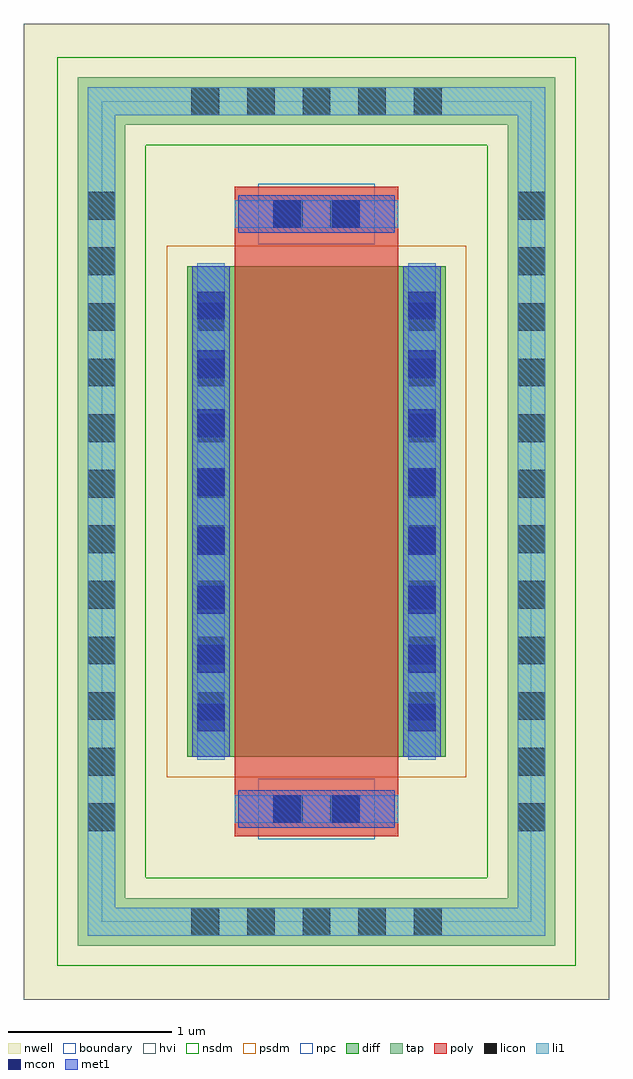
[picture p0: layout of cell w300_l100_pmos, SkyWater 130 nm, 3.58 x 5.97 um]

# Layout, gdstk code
import gdstk
lib = gdstk.Library(unit=1e-6, precision=1e-09)
def R(c, l, rs):  # rectangles x0, y0, x1, y1
    for r in rs: c.add(gdstk.rectangle(r[:2], r[2:], *l))
def A(c, l, x, y, w, h, nx, ny, dx, dy):  # array of equal rectangles
    R(c, l, [(x+i*dx, y+j*dy, x+i*dx+w, y+j*dy+h) for i in range(nx) for j in range(ny)])
nwell = (64, 20)
diff = (65, 20)
tap = (65, 44)
poly = (66, 20)
licon = (66, 44)
li1 = (67, 20)
mcon = (67, 44)
met1 = (68, 20)
hvi = (75, 20)
nsdm = (93, 44)
psdm = (94, 20)
npc = (95, 20)
boundary = (235, 4)

sky130_fd_pr__pfet_g5v0d = lib.new_cell('sky130_fd_pr__pfet_g5v0d10v5')

w300_l100_pmos = lib.new_cell('w300_l100_pmos')
R(w300_l100_pmos, nwell, [(-1.79,-2.985,1.79,2.985)])
R(w300_l100_pmos, diff, [(-0.79,-1.5,0.79,1.5)])
R(w300_l100_pmos, tap, [(-1.46,-2.655,1.46,-2.365), (-1.46,-2.365,-1.17,2.365), (1.17,-2.365,1.46,2.365), (-1.46,2.365,1.46,2.655)])
R(w300_l100_pmos, poly, [(-0.5,-1.985,0.5,1.985)])
A(w300_l100_pmos, licon, -0.765, -2.595, 0.17, 0.17, 5, 2, 0.34, 5.02)
A(w300_l100_pmos, licon, -1.4, -1.955, 0.17, 0.17, 1, 12, 0, 0.34)
A(w300_l100_pmos, licon, 1.23, -1.955, 0.17, 0.17, 1, 12, 0, 0.34)
A(w300_l100_pmos, licon, -0.73, -1.275, 0.17, 0.17, 1, 8, 0, 0.34)
A(w300_l100_pmos, licon, 0.56, -1.275, 0.17, 0.17, 1, 8, 0, 0.34)
R(w300_l100_pmos, licon, [(-0.255,-1.905,-0.085,-1.735), (0.085,-1.905,0.255,-1.735), (-0.255,1.735,-0.085,1.905), (0.085,1.735,0.255,1.905)])
R(w300_l100_pmos, li1, [(-1.4,-2.595,1.4,-2.425), (-1.4,-2.425,-1.23,2.425), (1.23,-2.425,1.4,2.425), (-0.5,-1.905,0.5,-1.735), (-0.73,-1.52,-0.56,1.52), (0.56,-1.52,0.73,1.52), (-0.5,1.735,0.5,1.905), (-1.4,2.425,1.4,2.595)])
A(w300_l100_pmos, mcon, -0.73, -1.345, 0.17, 0.17, 1, 8, 0, 0.36)
A(w300_l100_pmos, mcon, 0.56, -1.345, 0.17, 0.17, 1, 8, 0, 0.36)
R(w300_l100_pmos, mcon, [(-0.265,-1.905,-0.095,-1.735), (0.095,-1.905,0.265,-1.735), (-0.265,1.735,-0.095,1.905), (0.095,1.735,0.265,1.905)])
R(w300_l100_pmos, met1, [(-0.48,-1.935,0.48,-1.705), (-0.76,-1.5,-0.53,1.5), (0.53,-1.5,0.76,1.5), (-0.48,1.705,0.48,1.935)])
R(w300_l100_pmos, hvi, [(-1.79,-2.985,1.79,2.985)])
R(w300_l100_pmos, nsdm, [(-1.585,-2.78,1.585,-2.24), (-1.585,-2.24,-1.045,2.24), (1.045,-2.24,1.585,2.24), (-1.585,2.24,1.585,2.78)])
R(w300_l100_pmos, psdm, [(-0.915,-1.625,0.915,1.625)])
R(w300_l100_pmos, npc, [(-0.355,-2.005,0.355,-1.635), (-0.355,1.635,0.355,2.005)])
R(w300_l100_pmos, boundary, [(-1.315,-2.51,1.315,2.51)])
w300_l100_pmos.add(gdstk.Reference(sky130_fd_pr__pfet_g5v0d, (0,0)))

lib.write_gds('w300_l100_pmos.gds')
